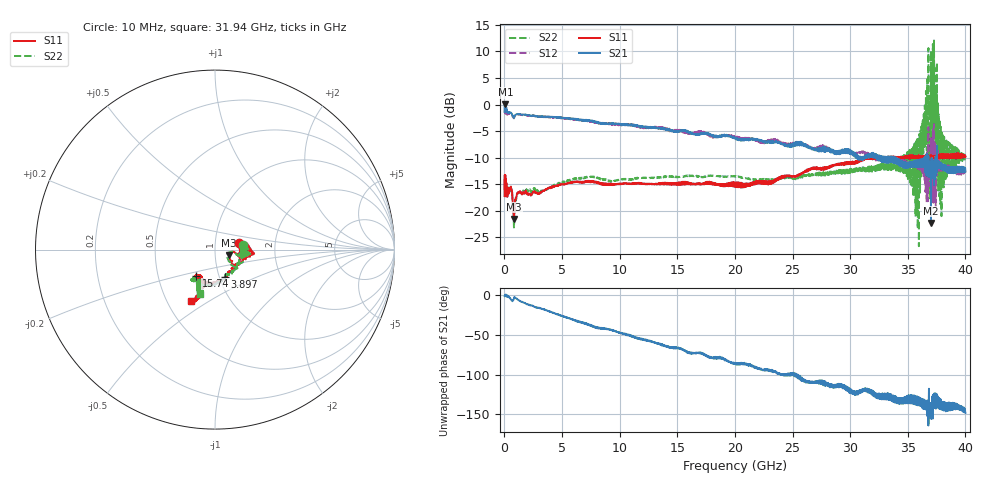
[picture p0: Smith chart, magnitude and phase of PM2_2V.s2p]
!Agilent Technologies,E8361A,US43140833,A.07.50.48
!Agilent E8361A: A.07.50.48
!Date: Sunday, January 17, 2016 15:55:19
!Correction: S11(Full 2 Port(1,2))
!S21(Full 2 Port(1,2))
!S12(Full 2 Port(1,2))
!S22(Full 2 Port(1,2))
!S2P File: Measurements: S11, S21, S12, S22:
# Hz S  dB  R 50
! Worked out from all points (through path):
!   3201 points, 10 MHz to 40 GHz, reference 50 ohm
!   highest |S21| = 0.07 dB at 72.48 MHz (marker M1); lowest = -22.3 dB at 37.01 GHz (marker M2)
!   lowest |S11| = -21.5 dB at 822.3 MHz (marker M3), VSWR 1.18, Z = 58.3 - j3.75 ohm
!   |S11| at or under -10 dB: start of sweep to 32.54 GHz; 32.55678 GHz to 32.63716 GHz (80.37 MHz wide, 0.247 % of centre); 32.64196 GHz to 32.72106 GHz (79.1 MHz wide, 0.242 % of centre)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
!   |S22| runs from -26.6 to 12.1 dB; largest |S21 - S12| = 0.49
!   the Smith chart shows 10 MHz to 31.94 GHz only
!   S11 on the Smith chart (normalised r, x): 10 MHz: 1.31, +0.09; 3.897 GHz: 1.07, -0.34; 15.74 GHz: 0.78, -0.24; 31.94 GHz: 0.66, -0.41
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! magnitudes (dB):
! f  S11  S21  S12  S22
! 10 MHz  -17.2  -1.4  -1.1  -16.1
! 72.48 MHz  -13.2  0.1  -1.4  -14.1
! 484.9 MHz  -15.7  -1.5  -1.6  -15.9
! 822.3 MHz  -21.5  -2.5  -2.6  -23.1
! 1.272 GHz  -16.4  -1.8  -1.8  -16.5
! 3.897 GHz  -15.7  -2.3  -2.4  -15.6
! 6.683 GHz  -14.6  -2.9  -2.9  -13.9
! 13.34 GHz  -15.0  -4.4  -4.2  -13.8
! 15.74 GHz  -14.9  -4.9  -5.3  -13.4
! 20 GHz  -15.4  -6.2  -6.1  -13.5
! 23.08 GHz  -14.9  -7.1  -6.7  -14.2
! 26.68 GHz  -12.1  -8.2  -8.1  -13.2
! 31.94 GHz  -10.1  -9.7  -10.2  -11.7
! 33.34 GHz  -10.1  -10.8  -9.9  -11.1
! 35.78 GHz  -10.0  -11.7  -11.7  -20.4
! 36.06 GHz  -10.1  -11.8  -12.2  -16.7
! 36.49 GHz  -9.7  -9.8  -10.8  -0.5
! 37.01 GHz  -9.5  -22.3  -6.3  10.1
! 37.38 GHz  -9.8  -12.9  -7.0  6.9
! 37.84 GHz  -10.1  -11.9  -11.4  -13.7
! 38.03 GHz  -10.1  -12.1  -11.4  -14.5
! 40 GHz  -9.8  -12.6  -12.7  -10.4
